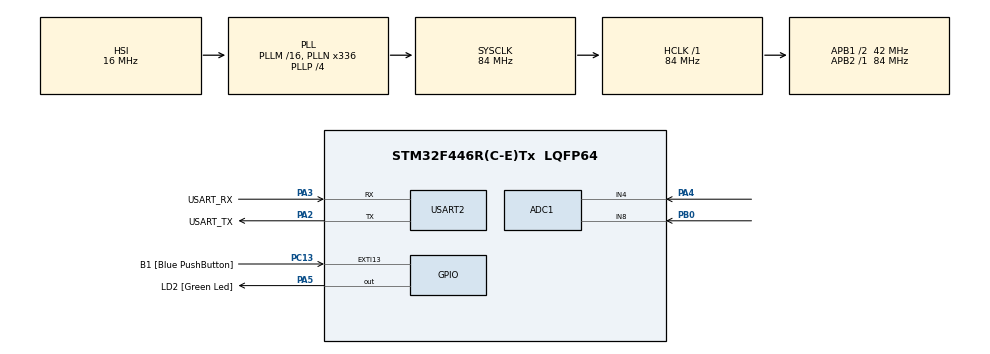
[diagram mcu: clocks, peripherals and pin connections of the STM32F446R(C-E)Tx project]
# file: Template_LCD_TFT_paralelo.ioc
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ADC1.Channel-0\#ChannelRegularConversion=ADC_CHANNEL_4
ADC1.NbrOfConversionFlag=1
ADC1.Rank-0\#ChannelRegularConversion=1
ADC1.SamplingTime-0\#ChannelRegularConversion=ADC_SAMPLETIME_3CYCLES
ADC1.master=1
Mcu.Family=STM32F4
Mcu.Name=STM32F446R(C-E)Tx
Mcu.Package=LQFP64
NVIC.PriorityGroup=NVIC_PRIORITYGROUP_0
PA13.GPIO_Label=TMS
PA13.Mode=Serial_Wire
PA13.Signal=SYS_JTMS-SWDIO
PA14.GPIO_Label=TCK
PA14.Mode=Serial_Wire
PA14.Signal=SYS_JTCK-SWCLK
PA2.GPIO_Label=USART_TX
PA2.Mode=Asynchronous
PA2.Signal=USART2_TX
PA3.GPIO_Label=USART_RX
PA3.Mode=Asynchronous
PA3.Signal=USART2_RX
PA4.Signal=ADCx_IN4
PA5.GPIO_Label=LD2 [Green Led]
PA5.Signal=GPIO_Output
PB0.Signal=ADCx_IN8
PB3.GPIO_Label=SWO
PB3.Signal=SYS_JTDO-SWO
PC13.GPIO_Label=B1 [Blue PushButton]
PC13.GPIO_ModeDefaultEXTI=GPIO_MODE_IT_FALLING
PC13.Signal=GPXTI13
PC14-OSC32_IN.Mode=LSE-External-Oscillator
PC14-OSC32_IN.Signal=RCC_OSC32_IN
PC15-OSC32_OUT.Mode=LSE-External-Oscillator
PC15-OSC32_OUT.Signal=RCC_OSC32_OUT
PH0-OSC_IN.Mode=HSE-External-Oscillator
PH0-OSC_IN.Signal=RCC_OSC_IN
PH1-OSC_OUT.Mode=HSE-External-Oscillator
PH1-OSC_OUT.Signal=RCC_OSC_OUT
ProjectManager.HeapSize=0x200
ProjectManager.StackSize=0x400
ProjectManager.TargetToolchain=STM32CubeIDE
RCC.48MHZClocksFreq_Value=84000000
RCC.AHBFreq_Value=84000000
RCC.APB1CLKDivider=RCC_HCLK_DIV2
RCC.APB1Freq_Value=42000000
RCC.APB1TimFreq_Value=84000000
RCC.APB2Freq_Value=84000000
RCC.APB2TimFreq_Value=84000000
RCC.CortexFreq_Value=84000000
RCC.FLatency-AdvancedSettings=FLASH_LATENCY_2
RCC.HCLKFreq_Value=84000000
RCC.HSE_VALUE=8000000
RCC.HSI_VALUE=16000000
RCC.PLLN=336
RCC.PLLP=RCC_PLLP_DIV4
RCC.SYSCLKFreq_VALUE=84000000
RCC.SYSCLKSource=RCC_SYSCLKSOURCE_PLLCLK
RCC.USBFreq_Value=168000000
RCC.VCOOutputFreq_Value=336000000
SH.ADCx_IN4.0=ADC1_IN4,IN4
SH.ADCx_IN8.0=ADC1_IN8,IN8
TIM1.AutoReloadPreload=TIM_AUTORELOAD_PRELOAD_ENABLE
TIM1.Period=0xFFFF-1
TIM1.Prescaler=84-1
USART2.VirtualMode=VM_ASYNC
VP_TIM1_VS_ClockSourceINT.Mode=Internal
board=NUCLEO-F446RE

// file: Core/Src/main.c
/* USER CODE BEGIN Header */
/**
  ******************************************************************************
  * @file           : main.c
  * @brief          : Main program body
  ******************************************************************************
  * @attention
  *
  * Copyright (c) 2025 STMicroelectronics.
  * All rights reserved.
  *
  * This software is licensed under terms that can be found in the LICENSE file
  * in the root directory of this software component.
  * If no LICENSE file comes with this software, it is provided AS-IS.
  *
  ******************************************************************************
  */
/* USER CODE END Header */
#include "main.h"

/* USER CODE BEGIN Includes */
#include "fonts.h"
#include "tft.h"
#include "user_setting.h"

#include "stdio.h"
#include "touch_screen.h"
/* USER CODE END Includes */

ADC_HandleTypeDef hadc1;

TIM_HandleTypeDef htim1;

UART_HandleTypeDef huart2;

/* USER CODE BEGIN PV */
uint16_t ID = 0;
extern const unsigned short ferias_320x240[76800];
/* USER CODE END PV */

void SystemClock_Config(void);
static void MX_GPIO_Init(void);
static void MX_USART2_UART_Init(void);
static void MX_TIM1_Init(void);
static void MX_ADC1_Init(void);
/* USER CODE BEGIN PFP */
uint16_t geraRGB565(uint8_t red, uint8_t green, uint8_t blue);
/* USER CODE END PFP */

int main(void)
{

  /* USER CODE BEGIN 1 */
  uint32_t x,y,z;
  uint32_t x_min = 1023, x_max = 0;
  uint32_t y_min = 1023, y_max = 0;
  uint32_t z_min = 1023, z_max = 0;
  uint32_t size;
  char codigoID[20];
  char mensagem[50];
  /* USER CODE END 1 */

  /* MCU Configuration--------------------------------------------------------*/

  /* Reset of all peripherals, Initializes the Flash interface and the Systick. */
  HAL_Init();

  /* Configure the system clock */
  SystemClock_Config();

  /* Initialize all configured peripherals */
  MX_GPIO_Init();
  MX_USART2_UART_Init();
  MX_TIM1_Init();
  MX_ADC1_Init();
  /* USER CODE BEGIN 2 */
  //Sequência de inicialização do LCD
  tft_gpio_init(); //Inicializa os GPIOs do LCD (evita uso do CubeMX)
  HAL_TIM_Base_Start(&htim1); //Inicializa o Timer1 (base de tempo de us do LCD)
  ID = tft_readID(); //Lê o ID do LCD (poderia ser chamada pela inicialização do LCD)

  size = sprintf(codigoID, "ID=%x\r\n", ID);
  HAL_UART_Transmit(&huart2, codigoID, size, 1000);

  HAL_Delay(100);
  tft_init (ID); //Inicializa o LCD de acordo com seu ID
  tft_setRotation(0); //Ajusta a orientação da tela
  tft_fillScreen(BLACK); //Preenche a tela em uma só cor

//  //Funções de teste do LCD (tirar para teste do touch)
  tft_testfillScreen();
  tft_testLines(CYAN);
  tft_testFastLines(RED, BLUE);
  tft_testFilledCircles(10, MAGENTA);
  tft_testCircles(10, WHITE);
  tft_fillScreen(BLACK);
  //Demonstração de scroll de texto
  tft_setRotation(0);
  tft_printnewtstr(100, RED, &mono12x7bold, 1, (uint8_t *)"HELLO WORLD");
  tft_scrollup(100);
  //Demonstração de inversão de cores do LCD (efeito negativo)
  tft_invertDisplay(1);

  tft_setRotation(1);	//Paisagem
  tft_drawRGBBitmap(0, 239, ferias_320x240, 320, 240);
  HAL_Delay(1000);

  //Teste touch screen
//  HAL_Delay(1000);
//  tft_setRotation(1); //paisagem
//  tft_fillScreen(YELLOW);
//  tft_drawLine(0, 120, 319, 120, RED);
//  tft_drawLine(160, 0, 160, 319, RED);
//  tft_drawLine(0, 0, 319, 239, RED);
//  tft_drawLine(0, 239, 319, 0, RED);
//  tft_printnewtstr(115, BLACK, &mono18x7bold, 1, "L");
//  tft_setCursor(298, 115);
//  tft_printstr("R");
//  tft_setCursor(162, 22);
//  tft_printstr("T");
//  tft_setCursor(162, 237);
//  tft_printstr("B");
//  //RD_IDLE --> Garante o nível em PA0 ou A0
//  HAL_GPIO_WritePin(GPIOA, GPIO_PIN_0, GPIO_PIN_SET);
//  ts_gpio_init();
  /* USER CODE END 2 */

  /* Infinite loop */
  while (1)
  {

    /* USER CODE BEGIN 3 */
//	  //Teste 1 - Lê um ponto na tela (sem tratamento)
//	  ts_read_point(&x, &y, &z); 	//Valor igual a -1 equivale a erro
//	  size = sprintf(mensagem, "CAD X = %04d - Y = %04d - Z = %04d\r\n", x, y, z);
//
//	  //Teste 2 - Atualiza os limites da tela (rodar com o teste 1 ativo)
//	  if(z > 0)
//	  {
//		  if(x_min > x) x_min = x;
//		  if(x_max < x) x_max = x;
//		  if(y_min > y) y_min = y;
//		  if(y_max < y) y_max = y;
//		  if(z_min > z) z_min = z;
//		  if(z_max < z) z_max = z;
//	  }
//	  size = sprintf(mensagem, "%04u<X<%04u - %04u<Y<%04u - %04u<Z<%04u\r\n",x_min,x_max,y_min,y_max,z_min,z_max);
//	  HAL_UART_Transmit(&huart2, mensagem, size, 100);
//	  HAL_Delay(500);

//	  //Teste 3 - Ajusta os limites da tela
//	  //Ordem de preenchimento da função: left, right, top e bottom
//	  ts_ajusta_limites(924, 109, 129, 895);
//
//	  //Teste 4 - Lê a coordenada na tela já ajustada
//	  while(1)
//	  {
//		  ts_read_point(&x, &y, &z);	//Valor igual a -1 equivale a erro
//		  size = sprintf(mensagem, "CAD  X = %04d - Y = %04d - Z = %04d\r\n", x, y, z);
//		  HAL_UART_Transmit(&huart2, mensagem, size, 100);
//
//		  ts_read_pixel(&x, &y, &z);
//		  size = sprintf(mensagem, "TELA X = %04d - Y = %04d - Z = %04d\r\n", x, y, z);
//		  HAL_UART_Transmit(&huart2, mensagem, size, 100);
//
//		  //Mostra a coordenada no LCD e desenha um circulo no ponto
//		  if(z > 0)
//		  {
//			  size = sprintf(mensagem, "X=%04d - Y=%04d", x, y);
//			  tft_printnewtstr_bc(20, YELLOW, BLACK, &mono12x7, 1, mensagem);
//			  tft_fillCircle(x, y, 4, RED);
//		  }
//
//		  HAL_Delay(50);
//	  }
  }
  /* USER CODE END 3 */
}

void SystemClock_Config(void)
{
  RCC_OscInitTypeDef RCC_OscInitStruct = {0};
  RCC_ClkInitTypeDef RCC_ClkInitStruct = {0};

  /** Configure the main internal regulator output voltage
  */
  __HAL_RCC_PWR_CLK_ENABLE();
  __HAL_PWR_VOLTAGESCALING_CONFIG(PWR_REGULATOR_VOLTAGE_SCALE3);

  /** Initializes the RCC Oscillators according to the specified parameters
  * in the RCC_OscInitTypeDef structure.
  */
  RCC_OscInitStruct.OscillatorType = RCC_OSCILLATORTYPE_HSI;
  RCC_OscInitStruct.HSIState = RCC_HSI_ON;
  RCC_OscInitStruct.HSICalibrationValue = RCC_HSICALIBRATION_DEFAULT;
  RCC_OscInitStruct.PLL.PLLState = RCC_PLL_ON;
  RCC_OscInitStruct.PLL.PLLSource = RCC_PLLSOURCE_HSI;
  RCC_OscInitStruct.PLL.PLLM = 16;
  RCC_OscInitStruct.PLL.PLLN = 336;
  RCC_OscInitStruct.PLL.PLLP = RCC_PLLP_DIV4;
  RCC_OscInitStruct.PLL.PLLQ = 2;
  RCC_OscInitStruct.PLL.PLLR = 2;
  if (HAL_RCC_OscConfig(&RCC_OscInitStruct) != HAL_OK)
  {
    Error_Handler();
  }

  /** Initializes the CPU, AHB and APB buses clocks
  */
  RCC_ClkInitStruct.ClockType = RCC_CLOCKTYPE_HCLK|RCC_CLOCKTYPE_SYSCLK
                              |RCC_CLOCKTYPE_PCLK1|RCC_CLOCKTYPE_PCLK2;
  RCC_ClkInitStruct.SYSCLKSource = RCC_SYSCLKSOURCE_PLLCLK;
  RCC_ClkInitStruct.AHBCLKDivider = RCC_SYSCLK_DIV1;
  RCC_ClkInitStruct.APB1CLKDivider = RCC_HCLK_DIV2;
  RCC_ClkInitStruct.APB2CLKDivider = RCC_HCLK_DIV1;

  if (HAL_RCC_ClockConfig(&RCC_ClkInitStruct, FLASH_LATENCY_2) != HAL_OK)
  {
    Error_Handler();
  }
}

static void MX_ADC1_Init(void)
{

  ADC_ChannelConfTypeDef sConfig = {0};

  /** Configure the global features of the ADC (Clock, Resolution, Data Alignment and number of conversion)
  */
  hadc1.Instance = ADC1;
  hadc1.Init.ClockPrescaler = ADC_CLOCK_SYNC_PCLK_DIV4;
  hadc1.Init.Resolution = ADC_RESOLUTION_12B;
  hadc1.Init.ScanConvMode = DISABLE;
  hadc1.Init.ContinuousConvMode = DISABLE;
  hadc1.Init.DiscontinuousConvMode = DISABLE;
  hadc1.Init.ExternalTrigConvEdge = ADC_EXTERNALTRIGCONVEDGE_NONE;
  hadc1.Init.ExternalTrigConv = ADC_SOFTWARE_START;
  hadc1.Init.DataAlign = ADC_DATAALIGN_RIGHT;
  hadc1.Init.NbrOfConversion = 1;
  hadc1.Init.DMAContinuousRequests = DISABLE;
  hadc1.Init.EOCSelection = ADC_EOC_SINGLE_CONV;
  if (HAL_ADC_Init(&hadc1) != HAL_OK)
  {
    Error_Handler();
  }

  /** Configure for the selected ADC regular channel its corresponding rank in the sequencer and its sample time.
  */
  sConfig.Channel = ADC_CHANNEL_4;
  sConfig.Rank = 1;
  sConfig.SamplingTime = ADC_SAMPLETIME_3CYCLES;
  if (HAL_ADC_ConfigChannel(&hadc1, &sConfig) != HAL_OK)
  {
    Error_Handler();
  }

}

static void MX_TIM1_Init(void)
{

  TIM_ClockConfigTypeDef sClockSourceConfig = {0};
  TIM_MasterConfigTypeDef sMasterConfig = {0};

  htim1.Instance = TIM1;
  htim1.Init.Prescaler = 84-1;
  htim1.Init.CounterMode = TIM_COUNTERMODE_UP;
  htim1.Init.Period = 0xFFFF-1;
  htim1.Init.ClockDivision = TIM_CLOCKDIVISION_DIV1;
  htim1.Init.RepetitionCounter = 0;
  htim1.Init.AutoReloadPreload = TIM_AUTORELOAD_PRELOAD_ENABLE;
  if (HAL_TIM_Base_Init(&htim1) != HAL_OK)
  {
    Error_Handler();
  }
  sClockSourceConfig.ClockSource = TIM_CLOCKSOURCE_INTERNAL;
  if (HAL_TIM_ConfigClockSource(&htim1, &sClockSourceConfig) != HAL_OK)
  {
    Error_Handler();
  }
  sMasterConfig.MasterOutputTrigger = TIM_TRGO_RESET;
  sMasterConfig.MasterSlaveMode = TIM_MASTERSLAVEMODE_DISABLE;
  if (HAL_TIMEx_MasterConfigSynchronization(&htim1, &sMasterConfig) != HAL_OK)
  {
    Error_Handler();
  }

}

static void MX_USART2_UART_Init(void)
{

  huart2.Instance = USART2;
  huart2.Init.BaudRate = 115200;
  huart2.Init.WordLength = UART_WORDLENGTH_8B;
  huart2.Init.StopBits = UART_STOPBITS_1;
  huart2.Init.Parity = UART_PARITY_NONE;
  huart2.Init.Mode = UART_MODE_TX_RX;
  huart2.Init.HwFlowCtl = UART_HWCONTROL_NONE;
  huart2.Init.OverSampling = UART_OVERSAMPLING_16;
  if (HAL_UART_Init(&huart2) != HAL_OK)
  {
    Error_Handler();
  }

}

static void MX_GPIO_Init(void)
{
  GPIO_InitTypeDef GPIO_InitStruct = {0};

  /* GPIO Ports Clock Enable */
  __HAL_RCC_GPIOC_CLK_ENABLE();
  __HAL_RCC_GPIOH_CLK_ENABLE();
  __HAL_RCC_GPIOA_CLK_ENABLE();
  __HAL_RCC_GPIOB_CLK_ENABLE();

  /*Configure GPIO pin Output Level */
  HAL_GPIO_WritePin(LD2_GPIO_Port, LD2_Pin, GPIO_PIN_RESET);

  /*Configure GPIO pin : B1_Pin */
  GPIO_InitStruct.Pin = B1_Pin;
  GPIO_InitStruct.Mode = GPIO_MODE_IT_FALLING;
  GPIO_InitStruct.Pull = GPIO_NOPULL;
  HAL_GPIO_Init(B1_GPIO_Port, &GPIO_InitStruct);

  /*Configure GPIO pin : LD2_Pin */
  GPIO_InitStruct.Pin = LD2_Pin;
  GPIO_InitStruct.Mode = GPIO_MODE_OUTPUT_PP;
  GPIO_InitStruct.Pull = GPIO_NOPULL;
  GPIO_InitStruct.Speed = GPIO_SPEED_FREQ_LOW;
  HAL_GPIO_Init(LD2_GPIO_Port, &GPIO_InitStruct);

}

/* USER CODE BEGIN 4 */
uint16_t geraRGB565(uint8_t red, uint8_t green, uint8_t blue)
{
	//rrrrrggg gggbbbbb
	return ((red<<8)&0xF800) + ((green<<5)&0x07E0) + ((blue>>3)&0x001F);
}

/* USER CODE END 4 */

void Error_Handler(void)
{
  __disable_irq();
  while (1)
  {
  }
}
